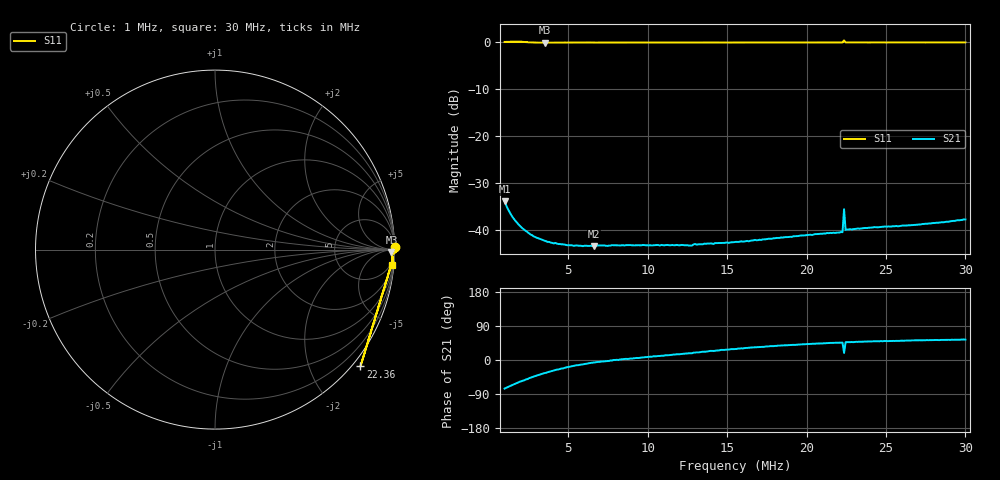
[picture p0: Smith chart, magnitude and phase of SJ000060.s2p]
!File created by NanoVNA-F V2
# Hz S RI R 50
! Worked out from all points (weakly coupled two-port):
!   301 points, 1 MHz to 30 MHz, reference 50 ohm
!   highest |S21| = -34.00 dB at 1 MHz (marker M1); lowest = -43.5 dB at 6.607 MHz (marker M2)
!   lowest |S11| = -0.1 dB at 3.513 MHz (marker M3), VSWR 119.59, Z = 3.11e+03 - j2.99e+03 ohm
!   |S11| at or under -10 dB: nowhere
!   S12 and S22 are empty: the file has one direction only
!   S11 on the Smith chart (normalised r, x): 1 MHz: open; 22.36 MHz: -0.18, -2.83; 30 MHz: 2, -22
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1000000  1.004 0.0172  0.00504 -0.0193  0 0  0 0
1193332  1.006 0.0134  0.00529 -0.0159  0 0  0 0
1483330  1.009 0.00376  0.00561 -0.0125  0 0  0 0
1966660  1.01 -0.0104  0.00591 -0.00917  0 0  0 0
2643322  0.9914 -0.022  0.00609 -0.00641  0 0  0 0
3513316  0.9833 -0.0158  0.00626 -0.0043  0 0  0 0
4383310  0.9869 -0.0133  0.00635 -0.00297  0 0  0 0
5833300  0.988 -0.0184  0.00656 -0.00142  0 0  0 0
6606628  0.9875 -0.0208  0.00661 -0.000754  0 0  0 0
1.06666e7  0.9858 -0.0324  0.00673 0.00126  0 0  0 0
1.279325e7  0.9861 -0.0376  0.00643 0.00206  0 0  0 0
1.298658e7  0.9855 -0.0371  0.00661 0.00234  0 0  0 0
1.414658e7  0.9873 -0.0393  0.00642 0.00284  0 0  0 0
1.424324e7  0.9872 -0.0401  0.00653 0.00296  0 0  0 0
1.54999e7  0.9877 -0.0446  0.00645 0.00357  0 0  0 0
2.03332e7  0.9871 -0.0575  0.00642 0.00595  0 0  0 0
2.226652e7  0.9875 -0.0647  0.00652 0.00673  0 0  0 0
2.236319e7  0.8103 -0.6512  0.0156 0.00526  0 0  0 0
2.245985e7  0.9885 -0.0642  0.00681 0.00724  0 0  0 0
2.51665e7  0.9877 -0.0733  0.00697 0.00826  0 0  0 0
2.680982e7  0.988 -0.0785  0.00691 0.0088  0 0  0 0
2.99998e7  0.9873 -0.0878  0.00759 0.0103  0 0  0 0
